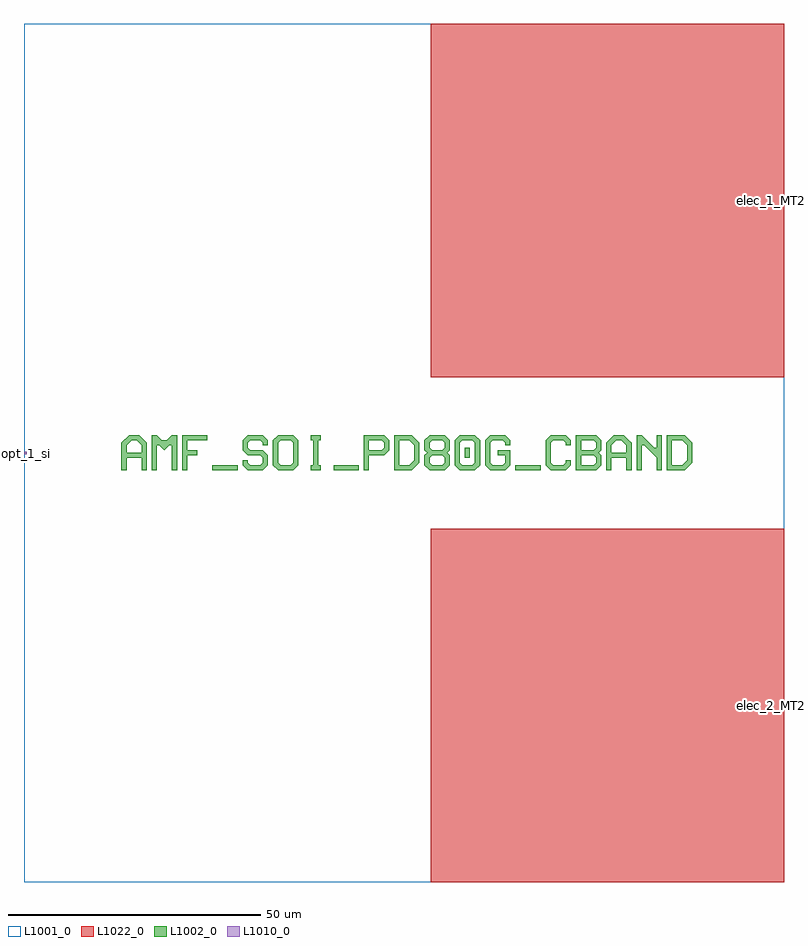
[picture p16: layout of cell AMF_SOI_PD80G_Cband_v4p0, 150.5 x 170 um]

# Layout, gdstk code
import gdstk
lib = gdstk.Library(unit=1e-6, precision=1e-09)
def R(c, l, rs):  # rectangles x0, y0, x1, y1
    for r in rs: c.add(gdstk.rectangle(r[:2], r[2:], *l))
def P(c, l, *ps):  # polygons
    for p in ps: c.add(gdstk.Polygon(p, *l))
L1001_0 = (1001, 0)
L1002_0 = (1002, 0)
L1010_0 = (1010, 0)
L1022_0 = (1022, 0)

amf_soi_pd80g_cband_v4p0 = lib.new_cell('AMF_SOI_PD80G_Cband_v4p0')
R(amf_soi_pd80g_cband_v4p0, L1001_0, [(0,-85,150.5,85)])
R(amf_soi_pd80g_cband_v4p0, L1002_0, [(37.305,-3.447,42.305,-2.447), (61.305,-3.447,66.305,-2.447), (97.305,-3.447,102.305,-2.447), (87.305,-0.947,88.305,1.053)])
P(amf_soi_pd80g_cband_v4p0, L1002_0, [(19.305,-3.447),(19.305,2.053),(20.805,3.553),(22.805,3.553),(23.805,2.553),(21.305,2.553),(20.305,1.553),(20.305,0.053),(23.305,0.053),(23.305,1.553),(22.305,2.553),(23.805,2.553),(24.305,2.053),(24.305,-3.447),(23.305,-3.447),(23.305,-0.947),(20.305,-0.947),(20.305,-3.447)],
  [(25.305,-3.447),(25.305,3.553),(26.305,3.553),(27.305,2.553),(28.305,2.553),(29.305,3.553),(30.305,3.553),(30.305,-3.447),(29.305,-3.447),(29.305,1.553),(28.805,1.553),(27.805,0.553),(26.805,1.553),(26.305,1.553),(26.305,-3.447)],
  [(31.305,-3.447),(31.305,3.553),(36.305,3.553),(36.305,2.553),(32.305,2.553),(32.305,0.553),(34.305,0.553),(34.305,-0.447),(32.305,-0.447),(32.305,-3.447)],
  [(44.305,-3.447),(43.305,-2.447),(43.305,-1.447),(44.305,-1.447),(44.305,-1.947),(44.805,-2.447),(46.805,-2.447),(47.305,-1.947),(47.305,-0.947),(46.805,-0.447),(44.305,-0.447),(43.305,0.553),(43.305,2.553),(44.305,3.553),(47.305,3.553),(48.305,2.553),(48.305,1.553),(47.305,1.553),(47.305,2.053),(46.805,2.553),(44.805,2.553),(44.305,2.053),(44.305,1.053),(44.805,0.553),(47.305,0.553),(48.305,-0.447),(48.305,-2.447),(47.305,-3.447)],
  [(50.305,-3.447),(49.305,-2.447),(49.305,2.553),(50.305,3.553),(53.305,3.553),(54.305,2.553),(54.305,0.053),(53.305,0.053),(53.305,2.053),(52.805,2.553),(50.805,2.553),(50.305,2.053),(50.305,-1.947),(50.805,-2.447),(52.805,-2.447),(53.305,-1.947),(53.305,0.053),(54.305,0.053),(54.305,-2.447),(53.305,-3.447)],
  [(56.805,-3.447),(56.805,-2.447),(57.305,-2.447),(57.305,2.553),(56.805,2.553),(56.805,3.553),(58.805,3.553),(58.805,2.553),(58.305,2.553),(58.305,-2.447),(58.805,-2.447),(58.805,-3.447)],
  [(67.305,-3.447),(67.305,3.553),(71.305,3.553),(72.305,2.553),(72.305,0.553),(71.305,-0.447),(68.305,-0.447),(68.305,0.553),(70.805,0.553),(71.305,1.053),(71.305,2.053),(70.805,2.553),(68.305,2.553),(68.305,-3.447)],
  [(73.305,-3.447),(73.305,3.553),(76.805,3.553),(77.805,2.553),(74.305,2.553),(74.305,-2.447),(76.305,-2.447),(77.305,-1.447),(77.305,1.553),(76.305,2.553),(77.805,2.553),(78.305,2.053),(78.305,-1.947),(76.805,-3.447)],
  [(80.305,-3.447),(79.305,-2.447),(79.305,-0.447),(79.805,0.053),(79.305,0.553),(79.305,2.553),(80.305,3.553),(83.305,3.553),(84.305,2.553),(80.805,2.553),(80.305,2.053),(80.305,1.053),(80.805,0.553),(82.805,0.553),(83.305,1.053),(83.305,2.053),(82.805,2.553),(84.305,2.553),(84.305,0.553),(83.805,0.053),(84.305,-0.447),(80.805,-0.447),(80.305,-0.947),(80.305,-1.947),(80.805,-2.447),(82.805,-2.447),(83.305,-1.947),(83.305,-0.947),(82.805,-0.447),(84.305,-0.447),(84.305,-2.447),(83.305,-3.447)],
  [(86.305,-3.447),(85.305,-2.447),(85.305,2.553),(86.305,3.553),(89.305,3.553),(90.305,2.553),(86.805,2.553),(86.305,2.053),(86.305,-1.947),(86.805,-2.447),(88.805,-2.447),(89.305,-1.947),(89.305,2.053),(88.805,2.553),(90.305,2.553),(90.305,-2.447),(89.305,-3.447)],
  [(92.305,-3.447),(91.305,-2.447),(91.305,2.553),(92.305,3.553),(95.305,3.553),(96.305,2.553),(96.305,1.553),(95.305,1.553),(95.305,2.053),(94.805,2.553),(92.805,2.553),(92.305,2.053),(92.305,-1.947),(92.805,-2.447),(94.805,-2.447),(95.305,-1.947),(95.305,-0.447),(93.805,-0.447),(93.805,0.553),(96.305,0.553),(96.305,-2.447),(95.305,-3.447)],
  [(104.305,-3.447),(103.305,-2.447),(103.305,2.553),(104.305,3.553),(107.305,3.553),(108.305,2.553),(108.305,1.553),(107.305,1.553),(107.305,2.053),(106.805,2.553),(104.805,2.553),(104.305,2.053),(104.305,-1.947),(104.805,-2.447),(106.805,-2.447),(107.305,-1.947),(107.305,-1.447),(108.305,-1.447),(108.305,-2.447),(107.305,-3.447)],
  [(109.305,-3.447),(109.305,3.553),(113.305,3.553),(114.305,2.553),(110.305,2.553),(110.305,0.553),(112.805,0.553),(113.305,1.053),(113.305,2.053),(112.805,2.553),(114.305,2.553),(114.305,0.553),(113.805,0.053),(114.305,-0.447),(110.305,-0.447),(110.305,-2.447),(112.805,-2.447),(113.305,-1.947),(113.305,-0.947),(112.805,-0.447),(114.305,-0.447),(114.305,-2.447),(113.305,-3.447)],
  [(115.305,-3.447),(115.305,2.053),(116.805,3.553),(118.805,3.553),(119.805,2.553),(117.305,2.553),(116.305,1.553),(116.305,0.053),(119.305,0.053),(119.305,1.553),(118.305,2.553),(119.805,2.553),(120.305,2.053),(120.305,-3.447),(119.305,-3.447),(119.305,-0.947),(116.305,-0.947),(116.305,-3.447)],
  [(121.305,-3.447),(121.305,3.553),(122.305,3.553),(124.805,1.053),(125.305,1.053),(125.305,3.553),(126.305,3.553),(126.305,-3.447),(125.305,-3.447),(125.305,-0.947),(122.805,1.553),(122.305,1.553),(122.305,-3.447)],
  [(127.305,-3.447),(127.305,3.553),(130.805,3.553),(131.805,2.553),(128.305,2.553),(128.305,-2.447),(130.305,-2.447),(131.305,-1.447),(131.305,1.553),(130.305,2.553),(131.805,2.553),(132.305,2.053),(132.305,-1.947),(130.805,-3.447)])
R(amf_soi_pd80g_cband_v4p0, L1010_0, [(0,-0.25,0.5,0.25)])
R(amf_soi_pd80g_cband_v4p0, L1022_0, [(80.5,-85,150.5,-15), (80.5,15,150.5,85)])
amf_soi_pd80g_cband_v4p0.add(gdstk.Label('opt_1_si', (0,0), layer=1010, texttype=0))
amf_soi_pd80g_cband_v4p0.add(gdstk.Label('elec_2_MT2', (150.5,-50), layer=1022, texttype=0))
amf_soi_pd80g_cband_v4p0.add(gdstk.Label('elec_1_MT2', (150.5,50), layer=1022, texttype=0))

lib.write_gds('AMF_SOI_PD80G_Cband_v4p0.gds')
